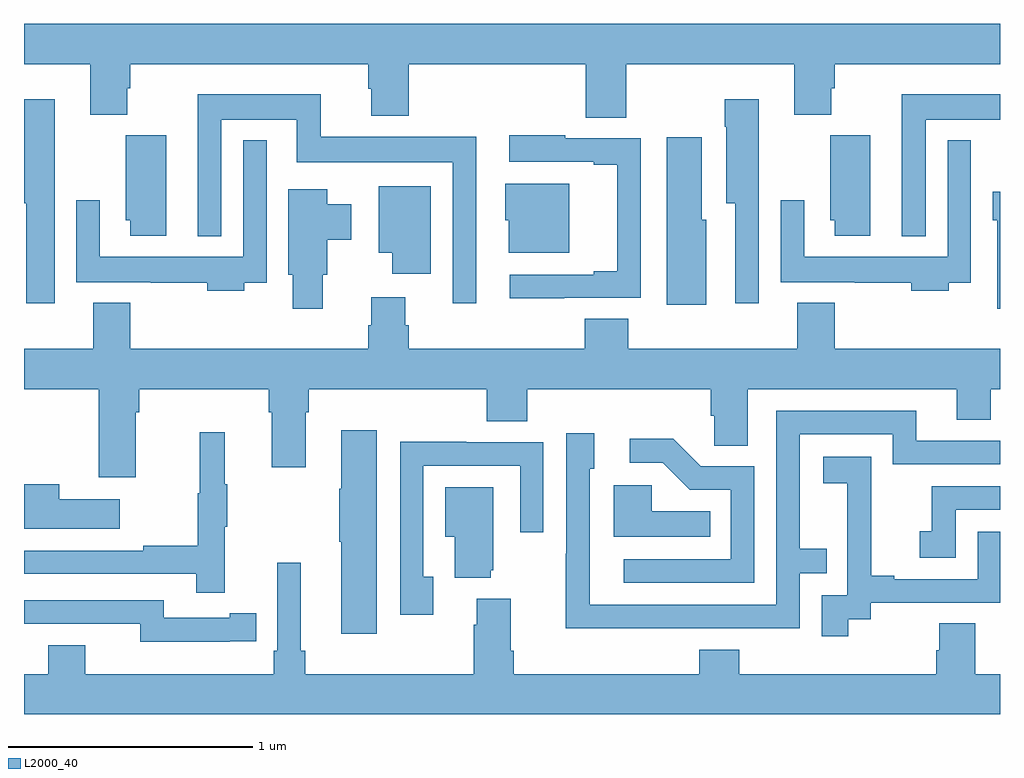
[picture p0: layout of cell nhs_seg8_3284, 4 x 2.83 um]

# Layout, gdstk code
import gdstk
lib = gdstk.Library(unit=1e-6, precision=1e-09)
def P(c, l, *ps):  # polygons
    for p in ps: c.add(gdstk.Polygon(p, *l))
L2000_40 = (2000, 40)

nhs_seg8_3284 = lib.new_cell('nhs_seg8_3284')
P(nhs_seg8_3284, L2000_40, [(313,1159.124),(313.271,1159.124),(313.271,1158.916),(313.423,1158.916),(313.423,1159.025),(313.436,1159.025),(313.436,1159.124),(314.411,1159.124),(314.411,1159.023),(314.423,1159.023),(314.423,1158.911),(314.576,1158.911),(314.576,1159.124),(315.302,1159.124),(315.302,1158.904),(315.468,1158.904),(315.468,1159.124),(316.157,1159.124),(316.157,1158.916),(316.309,1158.916),(316.309,1159.025),(316.322,1159.025),(316.322,1159.124),(317,1159.124),(317,1159.288),(313,1159.288)],
  [(314.854,1158.383),(314.853,1158.383),(314.853,1158.826),(314.216,1158.826),(314.216,1159),(313.712,1159),(313.712,1158.419),(313.809,1158.419),(313.809,1158.896),(314.118,1158.896),(314.118,1158.722),(314.757,1158.722),(314.757,1158.144),(314.854,1158.144)],
  [(316.695,1158.896),(317,1158.896),(317,1159),(316.598,1159),(316.598,1158.419),(316.695,1158.419)],
  [(313.125,1158.658),(313.126,1158.658),(313.126,1158.979),(313,1158.979),(313,1158.554),(313.009,1158.554),(313.009,1158.144),(313.125,1158.144)],
  [(316.011,1158.658),(316.012,1158.658),(316.012,1158.979),(315.871,1158.979),(315.871,1158.866),(315.878,1158.866),(315.878,1158.554),(315.915,1158.554),(315.915,1158.144),(316.011,1158.144)],
  [(315.215,1158.165),(315.528,1158.165),(315.528,1158.819),(315.218,1158.819),(315.218,1158.832),(314.988,1158.832),(314.988,1158.723),(315.335,1158.723),(315.335,1158.711),(315.431,1158.711),(315.431,1158.274),(315.335,1158.274),(315.335,1158.261),(314.991,1158.261),(314.991,1158.164),(315.215,1158.164)],
  [(313.582,1158.831),(313.418,1158.831),(313.418,1158.483),(313.436,1158.483),(313.436,1158.42),(313.582,1158.42)],
  [(316.468,1158.831),(316.304,1158.831),(316.304,1158.483),(316.322,1158.483),(316.322,1158.42),(316.468,1158.42)],
  [(315.796,1158.486),(315.778,1158.486),(315.778,1158.823),(315.635,1158.823),(315.635,1158.138),(315.796,1158.138)],
  [(316.789,1158.228),(316.881,1158.228),(316.881,1158.811),(316.785,1158.811),(316.785,1158.334),(316.197,1158.334),(316.197,1158.565),(316.101,1158.565),(316.101,1158.23),(316.405,1158.23),(316.405,1158.228),(316.637,1158.228),(316.637,1158.194),(316.789,1158.194)],
  [(313.903,1158.228),(313.995,1158.228),(313.995,1158.811),(313.899,1158.811),(313.899,1158.334),(313.311,1158.334),(313.311,1158.565),(313.215,1158.565),(313.215,1158.23),(313.519,1158.23),(313.519,1158.228),(313.751,1158.228),(313.751,1158.194),(313.903,1158.194)],
  [(315.235,1158.634),(314.972,1158.634),(314.972,1158.483),(314.987,1158.483),(314.987,1158.35),(315.235,1158.35)],
  [(314.668,1158.622),(314.453,1158.622),(314.453,1158.35),(314.51,1158.35),(314.51,1158.264),(314.668,1158.264)],
  [(314.224,1158.261),(314.242,1158.261),(314.242,1158.403),(314.341,1158.403),(314.341,1158.55),(314.242,1158.55),(314.242,1158.61),(314.084,1158.61),(314.084,1158.261),(314.102,1158.261),(314.102,1158.12),(314.224,1158.12)],
  [(317,1158.601),(316.97,1158.601),(316.97,1158.483),(316.988,1158.483),(316.988,1158.12),(317,1158.12)],
  [(313.459,1157.696),(313.472,1157.696),(313.472,1157.792),(314.003,1157.792),(314.003,1157.696),(314.015,1157.696),(314.015,1157.472),(314.155,1157.472),(314.155,1157.696),(314.168,1157.696),(314.168,1157.792),(314.897,1157.792),(314.897,1157.659),(315.062,1157.659),(315.062,1157.792),(315.815,1157.792),(315.815,1157.683),(315.828,1157.683),(315.828,1157.56),(315.967,1157.56),(315.967,1157.792),(316.823,1157.792),(316.823,1157.665),(316.962,1157.665),(316.962,1157.792),(317,1157.792),(317,1157.956),(316.322,1157.956),(316.322,1158.145),(316.169,1158.145),(316.169,1157.956),(315.476,1157.956),(315.476,1158.08),(315.299,1158.08),(315.299,1157.956),(314.576,1157.956),(314.576,1158.054),(314.563,1158.054),(314.563,1158.169),(314.423,1158.169),(314.423,1158.054),(314.411,1158.054),(314.411,1157.956),(313.436,1157.956),(313.436,1158.145),(313.283,1158.145),(313.283,1157.956),(313,1157.956),(313,1157.792),(313.307,1157.792),(313.307,1157.43),(313.459,1157.43)],
  [(315.683,1156.812),(316.179,1156.812),(316.179,1157.037),(316.289,1157.037),(316.289,1157.138),(316.179,1157.138),(316.179,1157.607),(316.56,1157.607),(316.56,1157.484),(317,1157.484),(317,1157.58),(316.657,1157.58),(316.657,1157.703),(316.083,1157.703),(316.083,1156.908),(315.319,1156.908),(315.319,1157.159),(315.318,1157.159),(315.318,1157.466),(315.337,1157.466),(315.337,1157.611),(315.222,1157.611),(315.222,1157.117),(315.22,1157.117),(315.22,1156.811),(315.683,1156.811)],
  [(314.446,1157.623),(314.3,1157.623),(314.3,1157.384),(314.293,1157.384),(314.293,1157.167),(314.3,1157.167),(314.3,1156.788),(314.446,1156.788)],
  [(313.823,1157.227),(313.834,1157.227),(313.834,1157.401),(313.823,1157.401),(313.823,1157.614),(313.72,1157.614),(313.72,1157.364),(313.713,1157.364),(313.713,1157.15),(313.489,1157.15),(313.489,1157.13),(313,1157.13),(313,1157.034),(313.705,1157.034),(313.705,1156.956),(313.823,1156.956)],
  [(315.993,1157.475),(315.774,1157.475),(315.661,1157.588),(315.483,1157.588),(315.483,1157.49),(315.617,1157.49),(315.728,1157.379),(315.897,1157.379),(315.897,1157.094),(315.459,1157.094),(315.459,1156.998),(315.993,1156.998)],
  [(314.677,1157.022),(314.637,1157.022),(314.637,1157.478),(315.033,1157.478),(315.033,1157.205),(315.129,1157.205),(315.129,1157.574),(314.813,1157.574),(314.813,1157.576),(314.541,1157.576),(314.541,1156.866),(314.677,1156.866)],
  [(316.378,1156.849),(316.47,1156.849),(316.47,1156.917),(317,1156.917),(317,1157.208),(316.908,1157.208),(316.908,1157.013),(316.567,1157.013),(316.567,1157.026),(316.472,1157.026),(316.472,1157.309),(316.473,1157.309),(316.473,1157.515),(316.275,1157.515),(316.275,1157.405),(316.373,1157.405),(316.373,1157.177),(316.374,1157.177),(316.374,1156.947),(316.269,1156.947),(316.269,1156.779),(316.378,1156.779)],
  [(313.393,1157.341),(313.145,1157.341),(313.145,1157.401),(313,1157.401),(313,1157.219),(313.393,1157.219)],
  [(315.812,1157.29),(315.573,1157.29),(315.573,1157.398),(315.416,1157.398),(315.416,1157.186),(315.812,1157.186)],
  [(316.818,1157.298),(317,1157.298),(317,1157.394),(316.72,1157.394),(316.72,1157.209),(316.671,1157.209),(316.671,1157.1),(316.818,1157.1)],
  [(314.912,1157.049),(314.923,1157.049),(314.923,1157.389),(314.726,1157.389),(314.726,1157.186),(314.765,1157.186),(314.765,1157.018),(314.912,1157.018)],
  [(313.844,1156.758),(313.952,1156.758),(313.952,1156.874),(313.844,1156.874),(313.844,1156.854),(313.572,1156.854),(313.572,1156.926),(313,1156.926),(313,1156.829),(313.016,1156.829),(313.016,1156.83),(313.476,1156.83),(313.476,1156.757),(313.844,1156.757)],
  [(316.751,1156.832),(316.751,1156.722),(316.739,1156.722),(316.739,1156.624),(315.932,1156.624),(315.932,1156.723),(315.767,1156.723),(315.767,1156.624),(315.008,1156.624),(315.008,1156.72),(314.995,1156.72),(314.995,1156.933),(314.855,1156.933),(314.855,1156.826),(314.843,1156.826),(314.843,1156.624),(314.153,1156.624),(314.153,1156.72),(314.134,1156.72),(314.134,1157.08),(314.037,1157.08),(314.037,1156.72),(314.024,1156.72),(314.024,1156.624),(313.252,1156.624),(313.252,1156.741),(313.1,1156.741),(313.1,1156.624),(313,1156.624),(313,1156.46),(317,1156.46),(317,1156.624),(316.899,1156.624),(316.899,1156.832)])

lib.write_gds('nhs_seg8_3284.gds')
